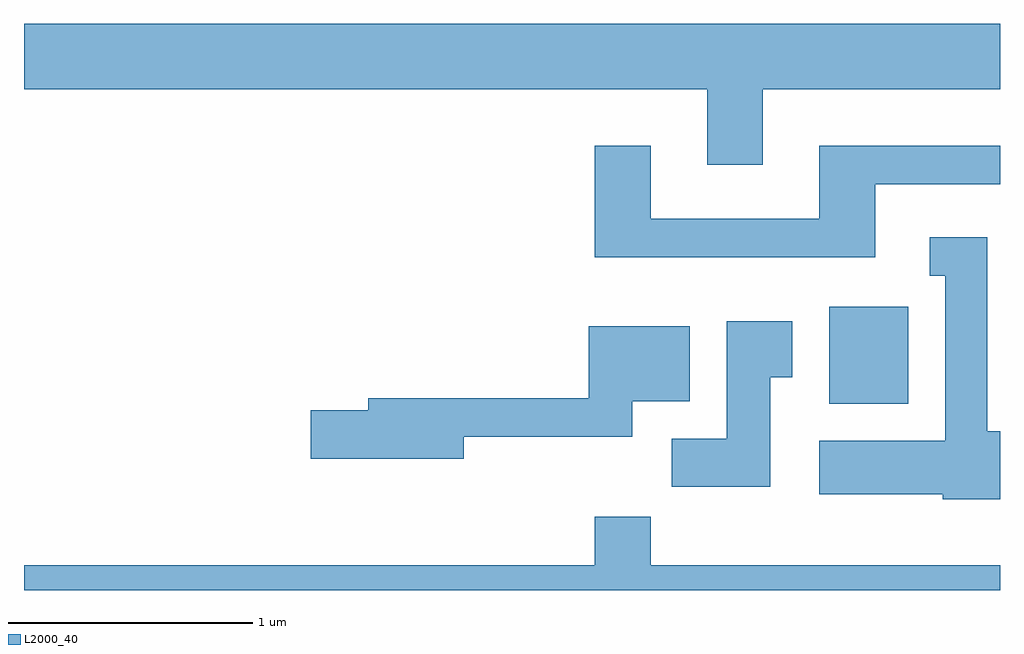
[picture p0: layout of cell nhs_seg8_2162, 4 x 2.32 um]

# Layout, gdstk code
import gdstk
lib = gdstk.Library(unit=1e-6, precision=1e-09)
def R(c, l, rs):  # rectangles x0, y0, x1, y1
    for r in rs: c.add(gdstk.rectangle(r[:2], r[2:], *l))
def P(c, l, *ps):  # polygons
    for p in ps: c.add(gdstk.Polygon(p, *l))
L2000_40 = (2000, 40)

nhs_seg8_2162 = lib.new_cell('nhs_seg8_2162')
R(nhs_seg8_2162, L2000_40, [(252.911,1855.106,253.234,1855.504)])
P(nhs_seg8_2162, L2000_40, [(252.639,1856.396),(253.611,1856.396),(253.611,1856.664),(249.611,1856.664),(249.611,1856.396),(252.411,1856.396),(252.411,1856.086),(252.639,1856.086)],
  [(253.099,1856.006),(253.611,1856.006),(253.611,1856.164),(252.871,1856.164),(252.871,1855.864),(252.179,1855.864),(252.179,1856.164),(251.951,1856.164),(251.951,1855.706),(253.099,1855.706)],
  [(253.611,1854.994),(253.559,1854.994),(253.559,1855.789),(253.323,1855.789),(253.323,1855.631),(253.386,1855.631),(253.386,1854.954),(252.871,1854.954),(252.871,1854.736),(253.376,1854.736),(253.376,1854.716),(253.611,1854.716)],
  [(252.669,1855.216),(252.759,1855.216),(252.759,1855.444),(252.491,1855.444),(252.491,1854.964),(252.266,1854.964),(252.266,1854.766),(252.669,1854.766)],
  [(251.414,1854.971),(252.104,1854.971),(252.104,1855.116),(252.339,1855.116),(252.339,1855.424),(251.926,1855.424),(251.926,1855.129),(251.021,1855.129),(251.021,1855.079),(250.786,1855.079),(250.786,1854.881),(251.414,1854.881)],
  [(253.611,1854.444),(252.179,1854.444),(252.179,1854.644),(251.951,1854.644),(251.951,1854.444),(249.611,1854.444),(249.611,1854.342),(253.611,1854.342)])

lib.write_gds('nhs_seg8_2162.gds')
